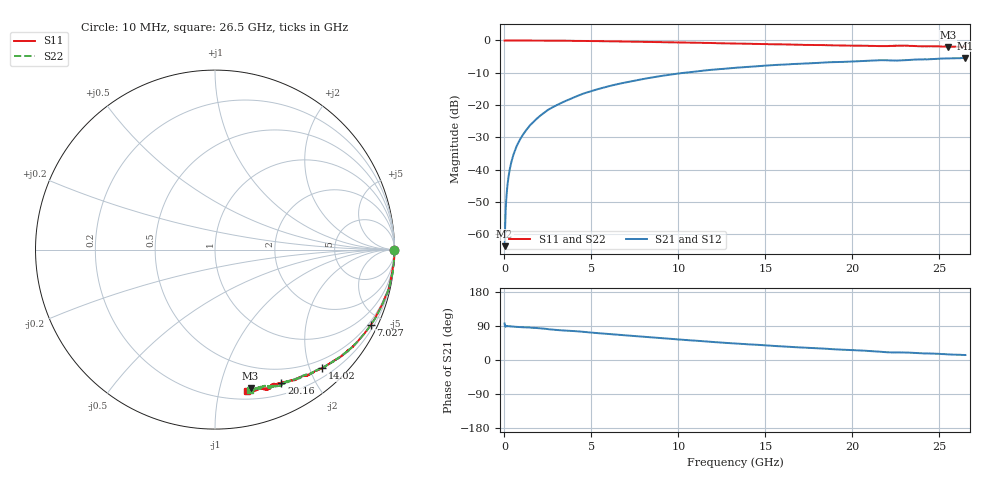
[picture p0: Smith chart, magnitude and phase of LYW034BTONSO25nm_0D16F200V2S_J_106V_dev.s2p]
!Keysight Technologies,N5222B,MY61253708,A.15.00.15
!Date: Wednesday, June 19, 2024 09:41:04
!Correction: S11(C  2-Port  )
!S21(C  2-Port  )
!S12(C  2-Port  )
!S22(C  2-Port  )
!S2P File: Measurements: S11, S21, S12, S22:
# Hz S  RI  R 50
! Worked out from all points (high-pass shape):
!   2651 points, 10 MHz to 26.5 GHz, reference 50 ohm
!   highest |S21| = -5.38 dB at 26.5 GHz (marker M1); lowest = -63.6 dB at 10 MHz (marker M2)
!   |S21| within 3 dB of the highest: 13.45 GHz to end of sweep
!   lowest |S11| = -2.0 dB at 25.5 GHz (marker M3), VSWR 8.80, Z = 14.8 - j62.3 ohm
!   |S11| at or under -10 dB: nowhere
!   |S22| runs from -1.9 to 0.0 dB; largest |S21 - S12| = 0.0066
!   S11 on the Smith chart (normalised r, x): 10 MHz: open; 7.027 GHz: 0.37, -4.32; 14.02 GHz: 0.35, -2.20; 20.16 GHz: 0.32, -1.57; 26.5 GHz: 0.27, -1.22
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1e7  0.9985 -0.00271  -7.19e-05 0.000654  5.72e-05 4.51e-05  0.9986 -0.00107
1.499472e8  0.9999 -0.0109  4.87e-05 0.00497  6.51e-05 0.00499  0.9996 -0.0102
1.799358e8  0.9999 -0.0121  9.25e-05 0.00598  5.44e-05 0.00603  0.9996 -0.0115
2.199208e8  0.9998 -0.0151  0.000107 0.00728  0.000119 0.00735  0.9993 -0.0142
3.098868e8  0.9995 -0.021  0.000233 0.0103  0.000216 0.0103  0.9993 -0.0199
4.298415e8  0.9993 -0.029  0.000394 0.0142  0.000432 0.0144  0.9996 -0.028
5.797849e8  0.9985 -0.0389  0.000727 0.0192  0.00066 0.0193  0.9989 -0.0377
7.59717e8  0.9982 -0.0507  0.00124 0.025  0.0013 0.0252  0.9984 -0.0499
1.049608e9  0.9975 -0.0713  0.0022 0.0343  0.00222 0.0346  0.996 -0.0689
1.409472e9  0.9909 -0.0961  0.00326 0.0463  0.00337 0.0466  0.9936 -0.0918
2.28914e9  0.9827 -0.1498  0.00947 0.0762  0.00969 0.0768  0.9844 -0.1494
3.128823e9  0.9712 -0.2031  0.0202 0.1017  0.0205 0.1024  0.972 -0.201
4.428332e9  0.9421 -0.2814  0.0385 0.1417  0.039 0.1427  0.9443 -0.2774
7.027351e9  0.8669 -0.4207  0.0965 0.2045  0.0979 0.2054  0.8699 -0.4182
8.846664e9  0.8017 -0.5033  0.1453 0.2368  0.147 0.2375  0.8047 -0.5
1.3255e10  0.6249 -0.6431  0.2728 0.261  0.2754 0.2606  0.6313 -0.64
1.402471e10  0.5956 -0.6611  0.2932 0.2586  0.295 0.2585  0.6003 -0.6564
1.767333e10  0.4521 -0.7217  0.379 0.2329  0.3827 0.231  0.4662 -0.7182
2.016239e10  0.3701 -0.7452  0.4281 0.2064  0.4308 0.2031  0.3874 -0.7449
2.209166e10  0.3169 -0.7535  0.4617 0.1708  0.4636 0.1675  0.3148 -0.7598
2.550038e10  0.1984 -0.7709  0.5107 0.1341  0.5122 0.1333  0.2224 -0.7744
2.65e10  0.1791 -0.7851  0.5241 0.1229  0.5236 0.1186  0.1957 -0.7842
